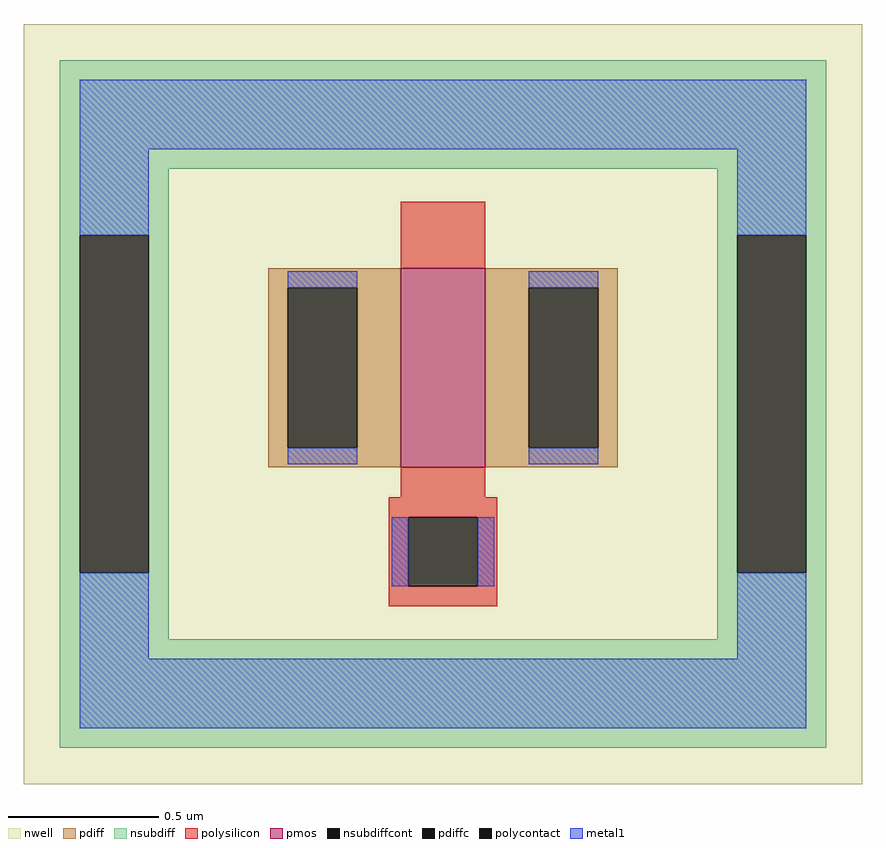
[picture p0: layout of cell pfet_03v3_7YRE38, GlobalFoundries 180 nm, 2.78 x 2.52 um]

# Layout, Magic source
magic
tech gf180mcuD
magscale 1 10
<< nwell >>
rect -278 -252 278 252
<< pmos >>
rect -28 -42 28 90
<< pdiff >>
rect -116 77 -28 90
rect -116 -29 -103 77
rect -57 -29 -28 77
rect -116 -42 -28 -29
rect 28 77 116 90
rect 28 -29 57 77
rect 103 -29 116 77
rect 28 -42 116 -29
<< pdiffc >>
rect -103 -29 -57 77
rect 57 -29 103 77
<< nsubdiff >>
rect -254 156 254 228
rect -254 112 -182 156
rect -254 -112 -241 112
rect -195 -112 -182 112
rect 182 112 254 156
rect -254 -156 -182 -112
rect 182 -112 195 112
rect 241 -112 254 112
rect 182 -156 254 -112
rect -254 -228 254 -156
<< nsubdiffcont >>
rect -241 -112 -195 112
rect 195 -112 241 112
<< polysilicon >>
rect -28 90 28 134
rect -28 -62 28 -42
rect -36 -75 36 -62
rect -36 -121 -23 -75
rect 23 -121 36 -75
rect -36 -134 36 -121
<< polycontact >>
rect -23 -121 23 -75
<< metal1 >>
rect -241 169 241 215
rect -241 112 -195 169
rect 195 112 241 169
rect -103 77 -57 88
rect -103 -40 -57 -29
rect 57 77 103 88
rect 57 -40 103 -29
rect -241 -169 -195 -112
rect -34 -121 -23 -75
rect 23 -121 34 -75
rect 195 -169 241 -112
rect -241 -215 241 -169
<< properties >>
string FIXED_BBOX -218 -192 218 192
string gencell pfet_03v3
string library gf180mcu
string parameters w 0.66 l 0.28 m 1 nf 1 diffcov 100 polycov 100 guard 1 glc 1 grc 1 gtc 0 gbc 0 tbcov 100 rlcov 100 topc 0 botc 1 poverlap 0 doverlap 1 lmin 0.28 wmin 0.22 class mosfet full_metal 1 compatible {pfet_03v3 pfet_06v0}
<< end >>
